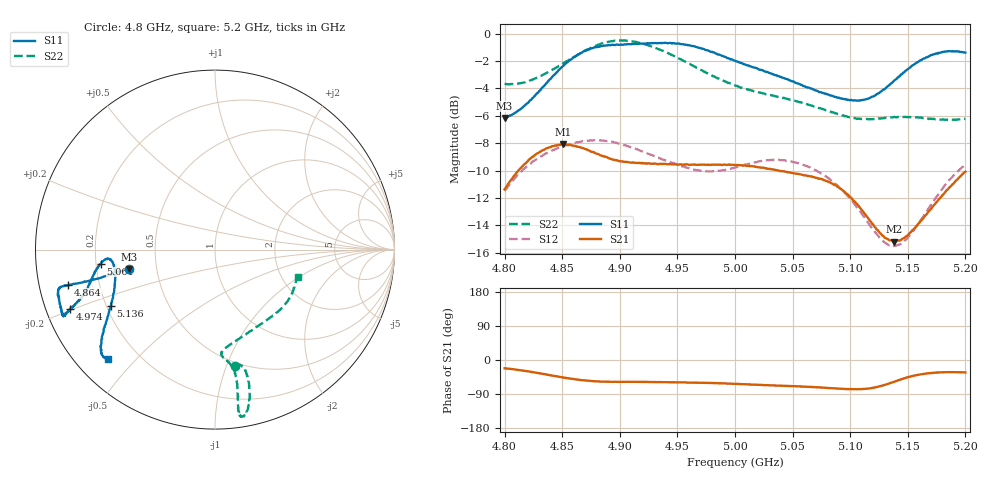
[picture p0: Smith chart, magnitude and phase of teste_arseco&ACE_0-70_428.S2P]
! Network Analyzer HP8722D
! Hewlett-Packard
! Data name: Linha & Wilkinson
! Saver's name: Rodrigo Anjos
! Comments: Teste da utilização de aquisição
! continua pelo VNA HP8722D
! Time and date: 8/5/2025 16:19
!  Frequency  S11  S21  S12  S22
# HZ  S  MA R 50
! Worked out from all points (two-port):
!   401 points, 4.8 GHz to 5.2 GHz, reference 50 ohm
!   highest |S21| = -8.09 dB at 4.851 GHz (marker M1); lowest = -15.2 dB at 5.138 GHz (marker M2)
!   |S21| within 3 dB of the highest: 4.802 GHz to 5.088 GHz (285.3 MHz wide, 5.77 % of centre); 5.187922 GHz to end of sweep
!   lowest |S11| = -6.2 dB at 4.8 GHz (marker M3), VSWR 2.94, Z = 17.2 - j5.01 ohm
!   |S11| at or under -10 dB: nowhere
!   |S22| runs from -6.3 to -0.5 dB; largest |S21 - S12| = 0.62
!   S11 on the Smith chart (normalised r, x): 4.8 GHz: 0.34, -0.10; 4.864 GHz: 0.09, -0.12; 4.974 GHz: 0.07, -0.20; 5.061 GHz: 0.22, -0.06; 5.136 GHz: 0.22, -0.24; 5.2 GHz: 0.09, -0.42
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4.8e9  0.4922 -167.0  0.2702 -22.0  0.2663 -143.1  0.6553 -80.2
4.826e9  0.5916 -166.6  0.3594 -32.9  0.344 -147.5  0.6844 -76.2
4.851e9  0.7626 -166.1  0.3942 -46.2  0.3888 -151.8  0.7795 -75.8
4.864e9  0.8402 -166.4  0.3861 -52.1  0.4012 -153.6  0.8376 -76.7
4.867e9  0.8519 -166.4  0.383 -53.2  0.4038 -154.1  0.8522 -77.0
4.898e9  0.9118 -163.7  0.3441 -57.6  0.3978 -157.8  0.9423 -80.3
4.934e9  0.9232 -157.0  0.3344 -58.5  0.3519 -156.4  0.8755 -81.7
4.953e9  0.9146 -156.3  0.3332 -59.0  0.3278 -152.8  0.8051 -80.9
4.974e9  0.8729 -157.6  0.3319 -60.3  0.3149 -146.3  0.7243 -80.6
5e9  0.7955 -160.0  0.3315 -63.0  0.3247 -138.4  0.6462 -82.1
5.035e9  0.7044 -166.6  0.318 -67.4  0.346 -136.1  0.5903 -86.4
5.061e9  0.6404 -173.0  0.3038 -70.3  0.3298 -138.3  0.5566 -84.3
5.067e9  0.6281 -174.1  0.301 -71.2  0.322 -138.9  0.5456 -82.8
5.083e9  0.5937 -175.0  0.2853 -74.3  0.2926 -140.3  0.5183 -76.3
5.1e9  0.5712 -171.6  0.2531 -77.0  0.2492 -140.1  0.4953 -66.0
5.116e9  0.5801 -163.7  0.2106 -75.3  0.2028 -134.9  0.4863 -54.4
5.134e9  0.6487 -152.9  0.1761 -61.7  0.1686 -117.3  0.4937 -42.7
5.136e9  0.6596 -151.7  0.1755 -59.7  0.1676 -114.7  0.4942 -41.5
5.138e9  0.6725 -150.5  0.1741 -57.4  0.1678 -111.9  0.4959 -40.1
5.15e9  0.7412 -145.6  0.1837 -45.6  0.1804 -97.1  0.4955 -34.0
5.17e9  0.8347 -139.9  0.2287 -34.4  0.237 -82.3  0.4892 -25.3
5.2e9  0.8515 -134.3  0.3132 -32.9  0.332 -78.5  0.4877 -18.1
